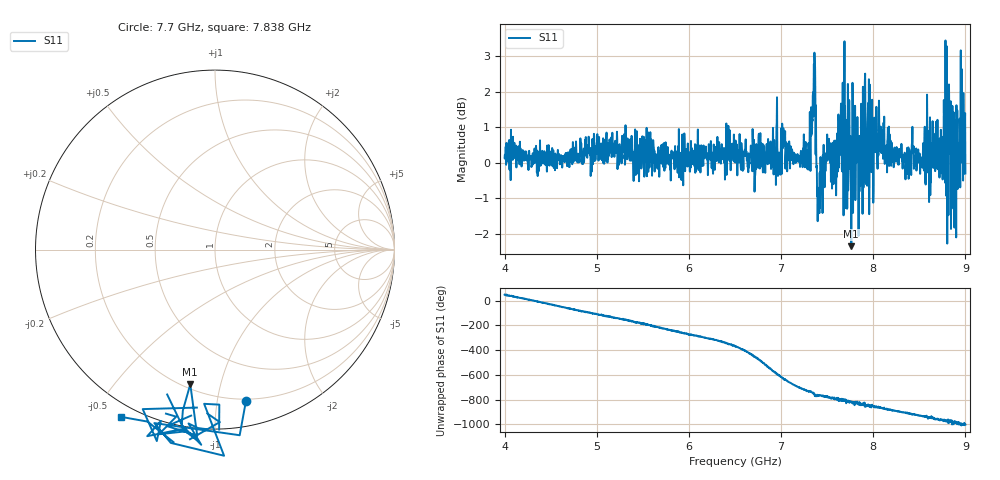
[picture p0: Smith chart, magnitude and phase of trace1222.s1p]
! Created with skrf 1.8.0 (http://scikit-rf.org).
# Hz S RI R 50.0
!freq ReS11 ImS11
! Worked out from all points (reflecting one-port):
!   1601 points, 4 GHz to 9 GHz, reference 50 ohm
!   lowest |S11| = -2.3 dB at 7.762 GHz (marker M1), VSWR 7.44, Z = 11.2 - j40.4 ohm
!   phase of S11 starts at 50 deg and turns -1051 deg over the sweep
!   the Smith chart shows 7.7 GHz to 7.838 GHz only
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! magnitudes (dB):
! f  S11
! 4 GHz  0.1
! 4.625 GHz  -0.1
! 5.25 GHz  0.0
! 5.875 GHz  -0.1
! 6.5 GHz  0.3
! 6.922 GHz  0.0
! 7.022 GHz  0.5
! 7.125 GHz  0.2
! 7.294 GHz  -0.2
! 7.347 GHz  2.0
! 7.369 GHz  2.7
! 7.397 GHz  -1.6
! 7.412 GHz  -1.2
! 7.5 GHz  0.8
! 7.578 GHz  0.6
! 7.662 GHz  -0.2
! 7.75 GHz  -0.2
! 7.762 GHz  -2.3
! 7.859 GHz  0.5
! 7.928 GHz  -0.3
! 7.981 GHz  -0.3
! 8.088 GHz  0.3
! 8.375 GHz  0.2
! 8.738 GHz  0.4
! 8.775 GHz  1.4
! 8.875 GHz  0.4
! 8.972 GHz  0.7
! 9 GHz  -0.3
